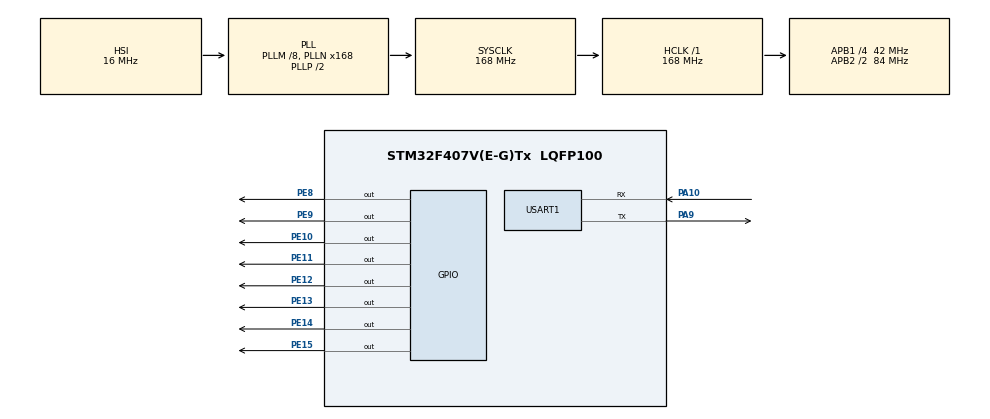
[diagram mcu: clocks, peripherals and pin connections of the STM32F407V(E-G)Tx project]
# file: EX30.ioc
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FREERTOS.Tasks01=defaultTask,24,128,StartDefaultTask,Default,NULL,Dynamic,NULL,NULL;UART,8,128,UART_T,Default,NULL,Dynamic,NULL,NULL;UART2,40,128,UART_R,Default,NULL,Dynamic,NULL,NULL;LED,9,128,LED_T,Default,NULL,Dynamic,NULL,NULL
Mcu.Family=STM32F4
Mcu.Name=STM32F407V(E-G)Tx
Mcu.Package=LQFP100
NVIC.PriorityGroup=NVIC_PRIORITYGROUP_4
NVIC.TIM1_UP_TIM10_IRQn=true\:15\:0\:false\:false\:true\:false\:false\:true
NVIC.TimeBase=TIM1_UP_TIM10_IRQn
NVIC.TimeBaseIP=TIM1
NVIC.USART1_IRQn=true\:5\:0\:false\:false\:true\:true\:true\:true
PA10.Mode=Asynchronous
PA10.Signal=USART1_RX
PA13.Mode=Serial_Wire
PA13.Signal=SYS_JTMS-SWDIO
PA14.Mode=Serial_Wire
PA14.Signal=SYS_JTCK-SWCLK
PA9.Mode=Asynchronous
PA9.Signal=USART1_TX
PE10.PinState=GPIO_PIN_SET
PE10.Signal=GPIO_Output
PE11.PinState=GPIO_PIN_SET
PE11.Signal=GPIO_Output
PE12.PinState=GPIO_PIN_SET
PE12.Signal=GPIO_Output
PE13.PinState=GPIO_PIN_SET
PE13.Signal=GPIO_Output
PE14.PinState=GPIO_PIN_SET
PE14.Signal=GPIO_Output
PE15.PinState=GPIO_PIN_SET
PE15.Signal=GPIO_Output
PE8.PinState=GPIO_PIN_SET
PE8.Signal=GPIO_Output
PE9.PinState=GPIO_PIN_SET
PE9.Signal=GPIO_Output
PH0-OSC_IN.Mode=HSE-External-Oscillator
PH0-OSC_IN.Signal=RCC_OSC_IN
PH1-OSC_OUT.Mode=HSE-External-Oscillator
PH1-OSC_OUT.Signal=RCC_OSC_OUT
ProjectManager.HeapSize=0x200
ProjectManager.StackSize=0x400
ProjectManager.TargetToolchain=MDK-ARM V5.32
RCC.48MHZClocksFreq_Value=84000000
RCC.AHBFreq_Value=168000000
RCC.APB1CLKDivider=RCC_HCLK_DIV4
RCC.APB1Freq_Value=42000000
RCC.APB1TimFreq_Value=84000000
RCC.APB2CLKDivider=RCC_HCLK_DIV2
RCC.APB2Freq_Value=84000000
RCC.APB2TimFreq_Value=168000000
RCC.CortexFreq_Value=168000000
RCC.HCLKFreq_Value=168000000
RCC.HSE_VALUE=25000000
RCC.HSI_VALUE=16000000
RCC.LSE_VALUE=32768
RCC.PLLM=8
RCC.PLLN=168
RCC.SYSCLKFreq_VALUE=168000000
RCC.SYSCLKSource=RCC_SYSCLKSOURCE_PLLCLK
RCC.VCOOutputFreq_Value=336000000
USART1.VirtualMode=VM_ASYNC
VP_FREERTOS_VS_CMSIS_V2.Mode=CMSIS_V2
VP_SYS_VS_tim1.Mode=TIM1
board=custom

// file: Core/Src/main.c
/* USER CODE BEGIN Header */
/**
  ******************************************************************************
  * @file           : main.c
  * @brief          : Main program body
  ******************************************************************************
  * @attention
  *
  * Copyright (c) 2022 STMicroelectronics.
  * All rights reserved.
  *
  * This software is licensed under terms that can be found in the LICENSE file
  * in the root directory of this software component.
  * If no LICENSE file comes with this software, it is provided AS-IS.
  *
  ******************************************************************************
  */
/* USER CODE END Header */
#include "main.h"
#include "cmsis_os.h"
#include "usart.h"
#include "gpio.h"

void SystemClock_Config(void);
void MX_FREERTOS_Init(void);

int main(void)
{

  /* MCU Configuration--------------------------------------------------------*/

  /* Reset of all peripherals, Initializes the Flash interface and the Systick. */
  HAL_Init();

  /* Configure the system clock */
  SystemClock_Config();

  /* Initialize all configured peripherals */
  MX_GPIO_Init();
  MX_USART1_UART_Init();

  /* Init scheduler */
  osKernelInitialize();  /* Call init function for freertos objects (in freertos.c) */
  MX_FREERTOS_Init();
  /* Start scheduler */
  osKernelStart();

  /* We should never get here as control is now taken by the scheduler */
  /* Infinite loop */
  while (1)
  {

  }
}

void SystemClock_Config(void)
{
  RCC_OscInitTypeDef RCC_OscInitStruct = {0};
  RCC_ClkInitTypeDef RCC_ClkInitStruct = {0};

  /** Configure the main internal regulator output voltage
  */
  __HAL_RCC_PWR_CLK_ENABLE();
  __HAL_PWR_VOLTAGESCALING_CONFIG(PWR_REGULATOR_VOLTAGE_SCALE1);
  /** Initializes the RCC Oscillators according to the specified parameters
  * in the RCC_OscInitTypeDef structure.
  */
  RCC_OscInitStruct.OscillatorType = RCC_OSCILLATORTYPE_HSI;
  RCC_OscInitStruct.HSIState = RCC_HSI_ON;
  RCC_OscInitStruct.HSICalibrationValue = RCC_HSICALIBRATION_DEFAULT;
  RCC_OscInitStruct.PLL.PLLState = RCC_PLL_ON;
  RCC_OscInitStruct.PLL.PLLSource = RCC_PLLSOURCE_HSI;
  RCC_OscInitStruct.PLL.PLLM = 8;
  RCC_OscInitStruct.PLL.PLLN = 168;
  RCC_OscInitStruct.PLL.PLLP = RCC_PLLP_DIV2;
  RCC_OscInitStruct.PLL.PLLQ = 4;
  if (HAL_RCC_OscConfig(&RCC_OscInitStruct) != HAL_OK)
  {
    Error_Handler();
  }
  /** Initializes the CPU, AHB and APB buses clocks
  */
  RCC_ClkInitStruct.ClockType = RCC_CLOCKTYPE_HCLK|RCC_CLOCKTYPE_SYSCLK
                              |RCC_CLOCKTYPE_PCLK1|RCC_CLOCKTYPE_PCLK2;
  RCC_ClkInitStruct.SYSCLKSource = RCC_SYSCLKSOURCE_PLLCLK;
  RCC_ClkInitStruct.AHBCLKDivider = RCC_SYSCLK_DIV1;
  RCC_ClkInitStruct.APB1CLKDivider = RCC_HCLK_DIV4;
  RCC_ClkInitStruct.APB2CLKDivider = RCC_HCLK_DIV2;

  if (HAL_RCC_ClockConfig(&RCC_ClkInitStruct, FLASH_LATENCY_5) != HAL_OK)
  {
    Error_Handler();
  }
}

void HAL_TIM_PeriodElapsedCallback(TIM_HandleTypeDef *htim)
{
  if (htim->Instance == TIM1) {
    HAL_IncTick();
  }
}

void Error_Handler(void)
{
  __disable_irq();
  while (1)
  {
  }
}

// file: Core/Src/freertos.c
/* USER CODE BEGIN Header */
/**
  ******************************************************************************
  * File Name          : freertos.c
  * Description        : Code for freertos applications
  ******************************************************************************
  * @attention
  *
  * Copyright (c) 2022 STMicroelectronics.
  * All rights reserved.
  *
  * This software is licensed under terms that can be found in the LICENSE file
  * in the root directory of this software component.
  * If no LICENSE file comes with this software, it is provided AS-IS.
  *
  ******************************************************************************
  */
/* USER CODE END Header */

#include "FreeRTOS.h"
#include "task.h"
#include "main.h"
#include "cmsis_os.h"

/* USER CODE BEGIN Includes */
#include "usart.h"
#include <stdio.h>

/* USER CODE END Includes */

/* USER CODE BEGIN PTD */

int fputc(int ch, FILE *f)
{
  HAL_UART_Transmit(&huart1, (uint8_t *)&ch, 1, 0xffff);
  return ch;
}

/* USER CODE END PTD */

/* USER CODE BEGIN PM */
u8 key;
u8 led_sc;
u8 i;
u8 flag_ur=0;
u8 len;

/* USER CODE END PM */

/* Definitions for defaultTask */
osThreadId_t defaultTaskHandle;
const osThreadAttr_t defaultTask_attributes = {
  .name = "defaultTask",
  .stack_size = 128 * 4,
  .priority = (osPriority_t) osPriorityNormal,
};
/* Definitions for UART */
osThreadId_t UARTHandle;
const osThreadAttr_t UART_attributes = {
  .name = "UART",
  .stack_size = 128 * 4,
  .priority = (osPriority_t) osPriorityLow,
};
/* Definitions for UART2 */
osThreadId_t UART2Handle;
const osThreadAttr_t UART2_attributes = {
  .name = "UART2",
  .stack_size = 128 * 4,
  .priority = (osPriority_t) osPriorityHigh,
};
/* Definitions for LED */
osThreadId_t LEDHandle;
const osThreadAttr_t LED_attributes = {
  .name = "LED",
  .stack_size = 128 * 4,
  .priority = (osPriority_t) osPriorityLow1,
};

void StartDefaultTask(void *argument);
void UART_T(void *argument);
void UART_R(void *argument);
void LED_T(void *argument);

void MX_FREERTOS_Init(void); /* (MISRA C 2004 rule 8.1) */

void MX_FREERTOS_Init(void) {

  /* Create the thread(s) */
  /* creation of defaultTask */
  defaultTaskHandle = osThreadNew(StartDefaultTask, NULL, &defaultTask_attributes);

  /* creation of UART */
  UARTHandle = osThreadNew(UART_T, NULL, &UART_attributes);

  /* creation of UART2 */
  UART2Handle = osThreadNew(UART_R, NULL, &UART2_attributes);

  /* creation of LED */
  LEDHandle = osThreadNew(LED_T, NULL, &LED_attributes);

}

void StartDefaultTask(void *argument)
{
  for(;;)
  {
    osDelay(1);
  }
}

void UART_T(void *argument)
{
  /* USER CODE BEGIN UART_T */
  /* Infinite loop */
  for(;;)
  {
		//printf("\r\n您发送的消息为:\r\n");
//		if(flag_ur==1){
//
//
//			flag_ur=0;
//
//		}
    osDelay(1);
  }
  /* USER CODE END UART_T */
}

void UART_R(void *argument)
{
  /* USER CODE BEGIN UART_R */
  /* Infinite loop */
  for(;;)
  {

		if(USART_RX_STA&0x8000){
			len=USART_RX_STA&0x3fff;//得到此次接收到的数据长度
			while(__HAL_UART_GET_FLAG(&huart1,UART_FLAG_TC)!=SET);		//等待发送结束
			printf("0123456789\r\n");
			printf("9876543210\r\n");
			USART_RX_STA=0;
			flag_ur=1;
		}
    osDelay(1);
  }
  /* USER CODE END UART_R */
}

void LED_T(void *argument)
{
  for(;;)
  {
    osDelay(1);
  }
}
